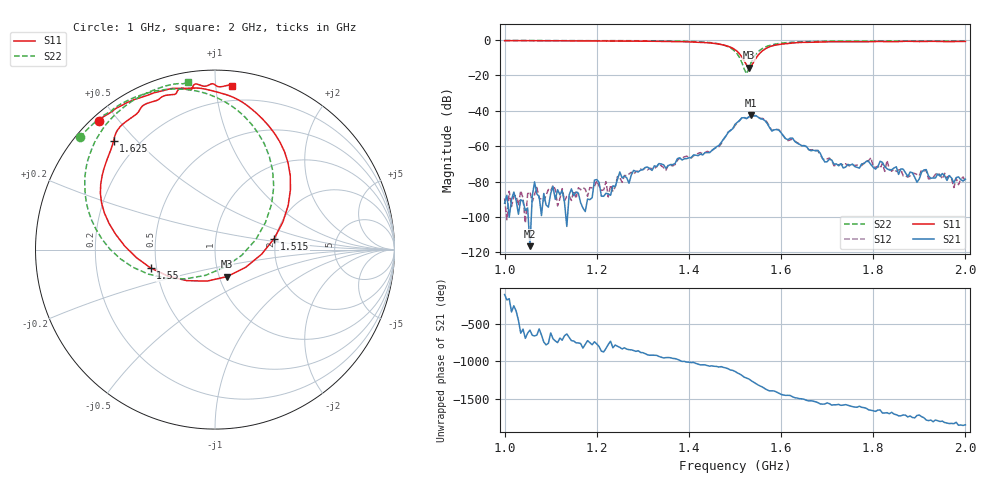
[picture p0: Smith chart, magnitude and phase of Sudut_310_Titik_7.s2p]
# Hz S RI R 50
! CMT, C1220, 16058040, 17.2.0/1
! Date: 14/08/2018 12:16:47
! Data: Format (Calibration Info)
! Freq  S11: Re/Im (F2)  S21: Re/Im (F2)  S12: Re/Im (F2)  S22: Re/Im (F2)
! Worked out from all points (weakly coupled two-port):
!   201 points, 1 GHz to 2 GHz, reference 50 ohm
!   highest |S21| = -42.50 dB at 1.535 GHz (marker M1); lowest = -116.6 dB at 1.055 GHz (marker M2)
!   lowest |S11| = -15.6 dB at 1.53 GHz (marker M3), VSWR 1.40, Z = 54.6 - j16.9 ohm
!   |S11| at or under -10 dB: 1.516 GHz to 1.546 GHz (29.96 MHz wide, 1.96 % of centre)
!   |S22| runs from -19.0 to -0.2 dB; largest |S21 - S12| = 0.00037
!   S11 on the Smith chart (normalised r, x): 1 GHz: 0.02, +0.44; 1.515 GHz: 1.96, +0.27; 1.55 GHz: 0.46, -0.11; 1.625 GHz: 0.11, +0.43; 2 GHz: 0.09, +1.11
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1e9  -0.6483 0.7143  -7.24e-06 -2.33e-05  1.25e-05 -3.11e-05  -0.7535 0.6249
1.055e9  -0.6014 0.7522  -1.07e-06 1.03e-06  -4.9e-05 1.43e-05  -0.7155 0.6656
1.17e9  -0.48 0.823  -4.57e-06 -1.72e-05  6.02e-05 -2.99e-05  -0.6168 0.7505
1.24e9  -0.377 0.8592  3.19e-05 -6.36e-05  3.85e-05 -5.84e-05  -0.5491 0.7958
1.25e9  -0.3586 0.8666  -1.26e-05 -0.000186  -1.36e-05 -0.000127  -0.5362 0.8039
1.27e9  -0.3378 0.8741  -5.24e-05 -7.31e-05  -4.03e-05 -0.000159  -0.5089 0.8199
1.28e9  -0.3241 0.8772  -0.000151 -0.000141  -8.62e-05 -0.000131  -0.4948 0.8271
1.335e9  -0.2221 0.898  -0.000259 0.000192  -0.000273 0.000178  -0.4006 0.8652
1.35e9  -0.182 0.8981  -0.000147 0.000188  -0.000118 0.00017  -0.3683 0.875
1.445e9  0.1542 0.8203  0.000638 0.000152  0.000669 0.000119  -0.00814 0.8545
1.5e9  0.4204 0.3343  0.00227 -0.00347  0.00212 -0.00322  0.3273 0.3503
1.515e9  0.3295 0.0614  -0.00224 -0.00595  -0.00208 -0.00609  0.2265 0.0548
1.53e9  0.0686 -0.1502  -0.0062 -0.0025  -0.00622 -0.00252  -0.0531 -0.1435
1.535e9  -0.0442 -0.1754  -0.0075 -3.08e-05  -0.00747 -3.96e-05  -0.1653 -0.1631
1.55e9  -0.3587 -0.1024  -0.00354 0.00562  -0.00372 0.00543  -0.4573 -0.0984
1.625e9  -0.5654 0.6046  0.00135 -0.00101  0.00128 -0.000963  -0.7015 0.5202
1.67e9  -0.4471 0.7478  -9.41e-05 -0.000764  -4.37e-05 -0.000795  -0.6258 0.6718
1.715e9  -0.3648 0.819  -0.000247 -0.000182  -0.00022 -0.000171  -0.551 0.7571
1.795e9  -0.212 0.8782  -0.00024 0.000181  -0.000319 0.00035  -0.4315 0.8451
1.835e9  -0.1442 0.8907  -2.27e-05 0.000211  -3.39e-05 0.000222  -0.3768 0.8736
1.895e9  -0.0667 0.9111  2.69e-05 9.14e-05  2.53e-05 0.000156  -0.292 0.9064
2e9  0.0956 0.9139  7.21e-05 -9.09e-05  4.83e-05 -9.08e-05  -0.1527 0.9329
